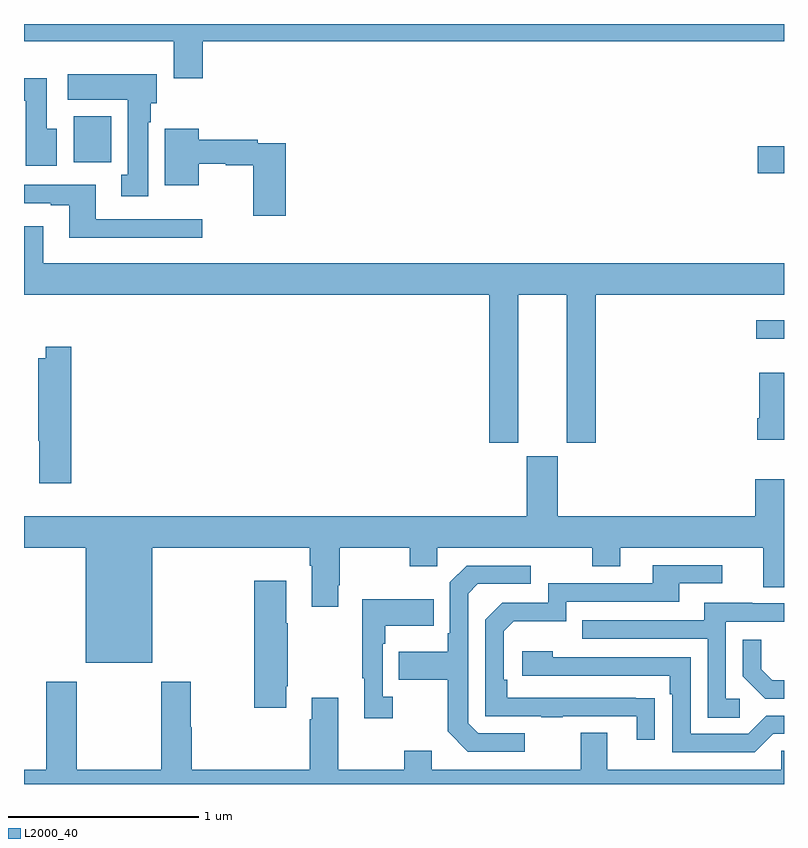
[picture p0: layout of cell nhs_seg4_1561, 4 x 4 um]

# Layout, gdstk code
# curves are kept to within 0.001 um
import gdstk
lib = gdstk.Library(unit=1e-6, precision=1e-09)
def R(c, l, rs):  # rectangles x0, y0, x1, y1
    for r in rs: c.add(gdstk.rectangle(r[:2], r[2:], *l))
def P(c, l, *ps):  # polygons
    for p in ps: c.add(gdstk.Polygon(p, *l))
L2000_40 = (2000, 40)

nhs_seg4_1561 = lib.new_cell('nhs_seg4_1561')
R(nhs_seg4_1561, L2000_40, [(194.853,807.243,195,807.34), (194.862,808.114,195,808.256), (191.261,808.172,191.458,808.414)])
P(nhs_seg4_1561, L2000_40, [(191.942,808.808),(195,808.808),(195,808.9),(191,808.9),(191,808.808),(191.789,808.808),(191.789,808.614),(191.942,808.614)],
  [(191.653,808.382),(191.668,808.382),(191.668,808.482),(191.698,808.482),(191.698,808.636),(191.229,808.636),(191.229,808.502),(191.546,808.502),(191.546,808.106),(191.513,808.106),(191.513,807.993),(191.653,807.993)],
  [(191.173,808.348),(191.119,808.348),(191.119,808.615),(191,808.615),(191,808.496),(191.009,808.496),(191.009,808.155),(191.173,808.155)],
  [(192.377,808.272),(192.23,808.272),(192.23,808.292),(191.92,808.292),(191.92,808.348),(191.741,808.348),(191.741,808.052),(191.92,808.052),(191.92,808.164),(192.063,808.164),(192.063,808.156),(192.206,808.156),(192.206,807.891),(192.377,807.891)],
  [(191.938,807.873),(191.377,807.873),(191.377,808.053),(191,808.053),(191,807.957),(191.141,807.957),(191.141,807.945),(191.237,807.945),(191.237,807.776),(191.938,807.776)],
  [(193.6,807.476),(193.856,807.476),(193.856,806.697),(194.009,806.697),(194.009,807.476),(195,807.476),(195,807.64),(191.101,807.64),(191.101,807.835),(191,807.835),(191,807.476),(193.448,807.476),(193.448,806.697),(193.6,806.697)],
  [(191.249,807.202),(191.114,807.202),(191.114,807.142),(191.074,807.142),(191.074,806.707),(191.081,806.707),(191.081,806.484),(191.249,806.484)],
  [(195,807.064),(194.87,807.064),(194.87,806.824),(194.858,806.824),(194.858,806.712),(195,806.712)],
  [(191.674,806.144),(192.503,806.144),(192.503,806.048),(192.515,806.048),(192.515,805.833),(192.655,805.833),(192.655,805.945),(192.663,805.945),(192.663,806.144),(193.03,806.144),(193.03,806.045),(193.176,806.045),(193.176,806.144),(193.99,806.144),(193.99,806.045),(194.137,806.045),(194.137,806.144),(194.891,806.144),(194.891,805.936),(195,805.936),(195,806.503),(194.849,806.503),(194.849,806.308),(193.81,806.308),(193.81,806.625),(193.646,806.625),(193.646,806.308),(191,806.308),(191,806.144),(191.324,806.144),(191.324,805.538),(191.674,805.538)],
  [(194.321,805.352),(193.544,805.353),(193.544,805.45),(193.524,805.45),(193.524,805.704),(193.577,805.757),(193.854,805.757),(193.854,805.86),(194.449,805.86),(194.449,805.956),(194.674,805.956),(194.674,806.052),(194.309,806.052),(194.309,805.956),(193.758,805.956),(193.758,805.854),(193.518,805.854),(193.428,805.764),(193.428,805.257),(193.723,805.257),(193.723,805.252),(193.835,805.252),(193.835,805.257),(194.225,805.257),(194.225,805.134),(194.321,805.134)],
  [(193.636,805.167),(193.392,805.167),(193.338,805.221),(193.338,805.902),(193.389,805.953),(193.666,805.953),(193.666,806.049),(193.329,806.049),(193.242,805.962),(193.242,805.693),(193.23,805.693),(193.23,805.597),(192.973,805.597),(192.973,805.45),(193.23,805.45),(193.23,805.177),(193.335,805.071),(193.636,805.071)],
  [(192.379,805.414),(192.387,805.414),(192.387,805.745),(192.379,805.745),(192.379,805.969),(192.212,805.969),(192.212,805.302),(192.379,805.302)],
  [(192.94,805.358),(192.888,805.358),(192.888,805.637),(192.901,805.637),(192.901,805.733),(193.157,805.733),(193.157,805.873),(192.78,805.873),(192.78,805.457),(192.791,805.457),(192.791,805.245),(192.94,805.245)],
  [(194.767,805.35),(194.694,805.35),(194.694,805.755),(195,805.755),(195,805.851),(194.833,805.851),(194.833,805.855),(194.579,805.855),(194.579,805.761),(193.939,805.761),(193.939,805.665),(194.598,805.665),(194.598,805.249),(194.767,805.249)],
  [(195,805.446),(194.938,805.446),(194.881,805.503),(194.881,805.66),(194.784,805.66),(194.784,805.466),(194.9,805.35),(195,805.35)],
  [(194.943,805.164),(195,805.164),(195,805.26),(194.907,805.26),(194.811,805.164),(194.508,805.164),(194.508,805.566),(193.784,805.566),(193.784,805.6),(193.623,805.6),(193.623,805.47),(194.399,805.47),(194.399,805.373),(194.412,805.373),(194.412,805.068),(194.847,805.068)],
  [(195,805.074),(194.985,805.074),(194.985,804.976),(194.071,804.976),(194.071,805.171),(193.931,805.171),(193.931,804.976),(193.147,804.976),(193.147,805.075),(193,805.075),(193,804.976),(192.655,804.976),(192.655,805.354),(192.515,805.354),(192.515,805.241),(192.503,805.241),(192.503,804.976),(191.882,804.976),(191.882,805.199),(191.877,805.199),(191.877,805.438),(191.722,805.438),(191.722,804.976),(191.277,804.976),(191.277,805.438),(191.117,805.438),(191.117,804.976),(191,804.976),(191,804.9),(195,804.9)])

lib.write_gds('nhs_seg4_1561.gds')
